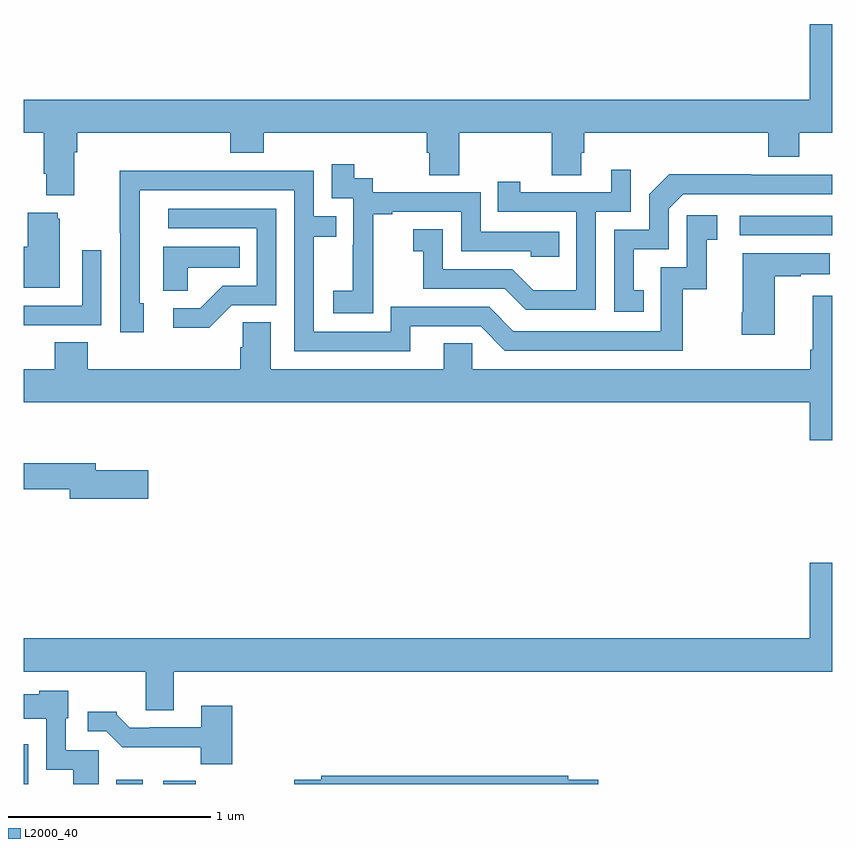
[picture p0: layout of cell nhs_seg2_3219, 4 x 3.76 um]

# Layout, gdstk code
import gdstk
lib = gdstk.Library(unit=1e-6, precision=1e-09)
def R(c, l, rs):  # rectangles x0, y0, x1, y1
    for r in rs: c.add(gdstk.rectangle(r[:2], r[2:], *l))
def P(c, l, *ps):  # polygons
    for p in ps: c.add(gdstk.Polygon(p, *l))
L2000_40 = (2000, 40)

nhs_seg2_3219 = lib.new_cell('nhs_seg2_3219')
R(nhs_seg2_3219, L2000_40, [(281,593.8,281.022,593.997), (281.459,593.8,281.59,593.821), (281.69,593.8,281.852,593.815), (284.541,596.514,285,596.61)])
P(nhs_seg2_3219, L2000_40, [(281.251,596.924),(281.264,596.924),(281.264,597.02),(282.023,597.02),(282.023,596.921),(282.188,596.921),(282.188,597.02),(282.995,597.02),(282.995,596.922),(283.007,596.922),(283.007,596.812),(283.155,596.812),(283.155,597.02),(283.612,597.02),(283.612,596.812),(283.759,596.812),(283.759,596.922),(283.772,596.922),(283.772,597.02),(284.684,597.02),(284.684,596.903),(284.836,596.903),(284.836,597.02),(285,597.02),(285,597.559),(284.888,597.559),(284.888,597.184),(281,597.184),(281,597.02),(281.099,597.02),(281.099,596.818),(281.111,596.818),(281.111,596.711),(281.251,596.711)],
  [(282.729,596.335),(282.728,596.335),(282.728,596.619),(282.823,596.619),(282.823,596.631),(283.164,596.631),(283.164,596.436),(283.509,596.436),(283.509,596.409),(283.649,596.409),(283.649,596.532),(283.26,596.532),(283.26,596.727),(282.726,596.727),(282.726,596.796),(282.634,596.796),(282.634,596.866),(282.525,596.866),(282.525,596.697),(282.63,596.697),(282.63,596.468),(282.629,596.468),(282.629,596.239),(282.531,596.239),(282.531,596.129),(282.729,596.129)],
  [(283.83,596.631),(284.004,596.631),(284.004,596.839),(283.907,596.839),(283.907,596.727),(283.456,596.727),(283.456,596.779),(283.345,596.779),(283.345,596.631),(283.734,596.631),(283.734,596.242),(283.52,596.242),(283.416,596.346),(283.074,596.346),(283.074,596.545),(282.927,596.545),(282.927,596.435),(282.976,596.435),(282.976,596.25),(283.379,596.25),(283.484,596.145),(283.83,596.145)],
  [(282.913,596.064),(283.26,596.064),(283.38,595.944),(284.26,595.944),(284.26,596.247),(284.378,596.247),(284.378,596.493),(284.431,596.493),(284.431,596.614),(284.28,596.614),(284.28,596.355),(284.151,596.355),(284.151,596.04),(283.422,596.04),(283.302,596.16),(282.816,596.16),(282.816,596.037),(282.435,596.037),(282.435,596.506),(282.545,596.506),(282.545,596.607),(282.435,596.607),(282.435,596.832),(281.939,596.832),(281.939,596.834),(281.476,596.834),(281.476,596.527),(281.478,596.527),(281.478,596.034),(281.593,596.034),(281.593,596.178),(281.574,596.178),(281.574,596.736),(282.339,596.736),(282.339,595.941),(282.913,595.941)],
  [(284.066,596.241),(284.017,596.241),(284.017,596.445),(284.19,596.445),(284.19,596.646),(284.262,596.718),(285,596.718),(285,596.814),(284.6,596.814),(284.6,596.816),(284.192,596.816),(284.094,596.718),(284.094,596.541),(283.92,596.541),(283.92,596.136),(284.066,596.136)],
  [(282.03,596.169),(282.249,596.169),(282.249,596.646),(281.715,596.646),(281.715,596.55),(282.153,596.55),(282.153,596.265),(281.984,596.265),(281.873,596.154),(281.739,596.154),(281.739,596.057),(281.917,596.057)],
  [(281.179,596.595),(281.168,596.595),(281.168,596.626),(281.021,596.626),(281.021,596.458),(281,596.458),(281,596.255),(281.179,596.255)],
  [(281.811,596.354),(282.068,596.354),(282.068,596.458),(281.69,596.458),(281.69,596.239),(281.811,596.239)],
  [(281.069,596.07),(281.385,596.07),(281.385,596.44),(281.289,596.44),(281.289,596.166),(281,596.166),(281,596.069),(281.069,596.069)],
  [(284.716,596.311),(284.843,596.311),(284.843,596.321),(284.986,596.321),(284.986,596.425),(284.558,596.425),(284.558,596.134),(284.551,596.134),(284.551,596.022),(284.716,596.022)],
  [(285,596.215),(284.903,596.215),(284.903,595.948),(284.891,595.948),(284.891,595.852),(283.218,595.852),(283.218,595.979),(283.079,595.979),(283.079,595.852),(282.223,595.852),(282.223,596.084),(282.084,596.084),(282.084,595.961),(282.071,595.961),(282.071,595.852),(281.318,595.852),(281.318,595.985),(281.153,595.985),(281.153,595.852),(281,595.852),(281,595.688),(284.888,595.688),(284.888,595.5),(285,595.5)],
  [(281.617,595.353),(281.356,595.353),(281.356,595.387),(281,595.387),(281,595.258),(281.228,595.258),(281.228,595.211),(281.617,595.211)],
  [(281.743,594.356),(285,594.356),(285,594.895),(284.888,594.895),(284.888,594.52),(281,594.52),(281,594.356),(281.603,594.356),(281.603,594.166),(281.743,594.166)],
  [(281.371,593.967),(281.208,593.967),(281.208,594.126),(281.221,594.126),(281.221,594.262),(281.076,594.262),(281.076,594.244),(281,594.244),(281,594.122),(281.112,594.122),(281.112,593.87),(281.246,593.87),(281.246,593.8),(281.371,593.8)],
  [(282.032,594.187),(281.879,594.187),(281.879,594.081),(281.623,594.081),(281.623,594.078),(281.524,594.078),(281.46,594.142),(281.46,594.157),(281.316,594.157),(281.316,594.06),(281.409,594.06),(281.488,593.982),(281.877,593.982),(281.877,593.897),(282.032,593.897)],
  [(283.841,593.82),(283.694,593.82),(283.694,593.84),(282.472,593.84),(282.472,593.82),(282.338,593.82),(282.338,593.8),(283.841,593.8)])

lib.write_gds('nhs_seg2_3219.gds')
